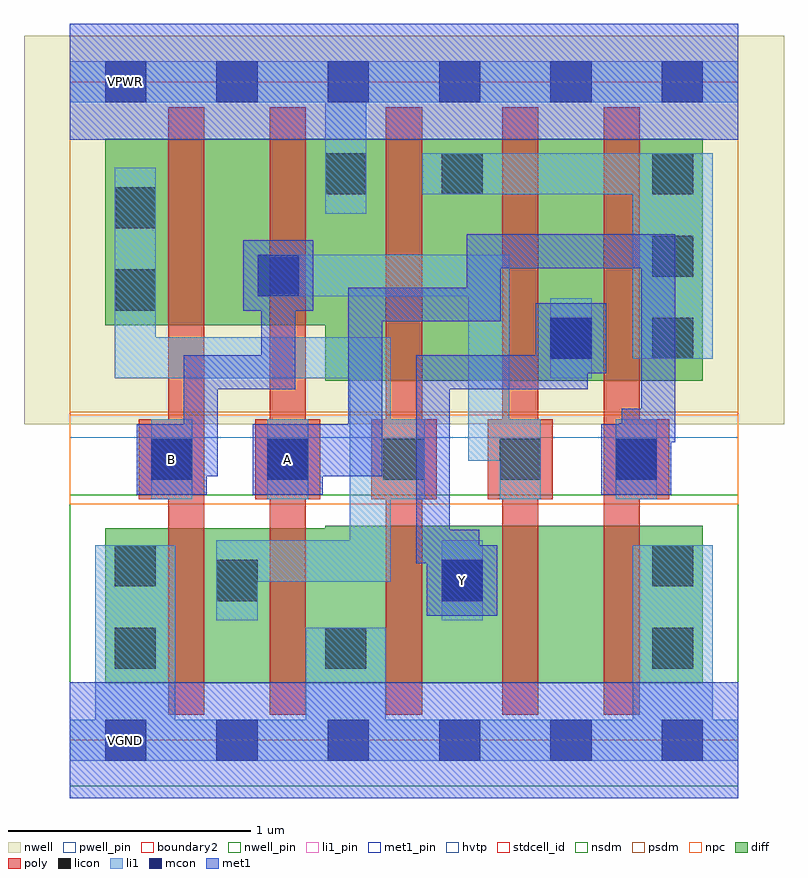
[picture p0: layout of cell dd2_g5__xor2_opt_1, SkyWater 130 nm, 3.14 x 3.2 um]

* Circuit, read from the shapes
.subckt dd2_g5__xor2_opt_1 A B VGND VNB VPB VPWR Y
XM1 n1 B VGND VNB sky130_fd_pr__nfet_01v8 w=0.64 l=0.15
XM2 VGND A n1 VNB sky130_fd_pr__nfet_01v8 w=0.64 l=0.15
XM3 Y n1 VGND VNB sky130_fd_pr__nfet_01v8 w=0.65 l=0.15
XM4 n2 B Y VNB sky130_fd_pr__nfet_01v8 w=0.65 l=0.15
XM5 VGND A n2 VNB sky130_fd_pr__nfet_01v8 w=0.65 l=0.15
XM6 n3 B n1 VPB sky130_fd_pr__pfet_01v8_hvt w=0.77 l=0.15
XM7 VPWR A n3 VPB sky130_fd_pr__pfet_01v8_hvt w=0.77 l=0.15
XM8 n4 n1 VPWR VPB sky130_fd_pr__pfet_01v8_hvt w=1 l=0.15
XM9 Y B n4 VPB sky130_fd_pr__pfet_01v8_hvt w=1 l=0.15
XM10 n4 A Y VPB sky130_fd_pr__pfet_01v8_hvt w=1 l=0.15
.ends

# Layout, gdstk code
import gdstk
lib = gdstk.Library(unit=1e-6, precision=1e-09)
def R(c, l, rs):  # rectangles x0, y0, x1, y1
    for r in rs: c.add(gdstk.rectangle(r[:2], r[2:], *l))
def A(c, l, x, y, w, h, nx, ny, dx, dy):  # array of equal rectangles
    R(c, l, [(x+i*dx, y+j*dy, x+i*dx+w, y+j*dy+h) for i in range(nx) for j in range(ny)])
nwell_pin = (64, 16)
nwell = (64, 20)
diff = (65, 20)
poly = (66, 20)
licon = (66, 44)
li1_pin = (67, 16)
li1 = (67, 20)
mcon = (67, 44)
met1_pin = (68, 16)
met1 = (68, 20)
hvtp = (78, 44)
stdcell_id = (81, 4)
nsdm = (93, 44)
psdm = (94, 20)
npc = (95, 20)
pwell_pin = (122, 16)
boundary2 = (236, 0)

dd2_g5__xor2_opt_1 = lib.new_cell('dd2_g5__xor2_opt_1')
R(dd2_g5__xor2_opt_1, nwell_pin, [(0.145,2.635,0.315,2.805)])
R(dd2_g5__xor2_opt_1, nwell, [(-0.19,1.305,2.95,2.91)])
R(dd2_g5__xor2_opt_1, diff, [(0.145,0.235,0.9,0.875), (0.48,0.235,1.38,0.875), (1.055,0.235,1.86,0.885), (1.38,0.235,2.28,0.885), (1.86,0.235,2.615,0.885), (1.055,1.485,1.86,2.485), (1.38,1.485,2.28,2.485), (1.86,1.485,2.615,2.485), (0.145,1.715,0.9,2.485), (0.48,1.715,1.38,2.485)])
A(dd2_g5__xor2_opt_1, poly, 0.825, 0.105, 0.15, 2.51, 3, 1, 0.48, 0)
A(dd2_g5__xor2_opt_1, poly, 0.285, 0.995, 0.27, 0.33, 5, 1, 0.48, 0)
R(dd2_g5__xor2_opt_1, poly, [(0.405,0.105,0.555,2.615), (2.205,0.105,2.355,2.615)])
A(dd2_g5__xor2_opt_1, licon, 0.335, 1.075, 0.17, 0.17, 5, 1, 0.48, 0)
A(dd2_g5__xor2_opt_1, licon, 2.405, 1.575, 0.17, 0.17, 1, 3, 0, 0.34)
R(dd2_g5__xor2_opt_1, licon, [(0.185,0.295,0.355,0.465), (1.055,0.295,1.225,0.465), (2.405,0.295,2.575,0.465), (0.605,0.575,0.775,0.745), (1.535,0.575,1.705,0.745), (0.185,0.635,0.355,0.805), (2.405,0.635,2.575,0.805), (1.985,1.575,2.155,1.745), (0.185,1.775,0.355,1.945), (0.185,2.115,0.355,2.285), (1.055,2.255,1.225,2.425), (1.535,2.255,1.705,2.425)])
R(dd2_g5__xor2_opt_1, li1_pin, [(0.145,-0.085,0.315,0.085), (1.545,0.585,1.695,0.735), (0.345,1.085,0.495,1.235), (0.825,1.085,0.975,1.235), (1.785,1.085,1.935,1.235), (2.265,1.085,2.415,1.235), (0.145,2.635,0.315,2.805)])
R(dd2_g5__xor2_opt_1, li1, [(0,-0.085,2.76,0.085), (0.105,0.085,0.435,0.805), (0.975,0.085,1.305,0.465), (2.325,0.085,2.655,0.805), (0.605,0.495,0.775,0.655), (1.535,0.495,1.705,0.825), (0.605,0.655,1.325,0.825), (1.155,0.825,1.325,0.995), (0.335,0.995,0.505,1.325), (0.815,0.995,0.985,1.325), (1.155,0.995,1.465,1.325), (1.775,0.995,1.945,1.155), (2.255,0.995,2.425,1.325), (1.645,1.155,1.945,1.325), (1.155,1.325,1.325,1.495), (1.645,1.325,1.815,1.835), (0.185,1.495,1.325,1.665), (1.985,1.495,2.155,1.825), (2.325,1.575,2.655,2.255), (0.185,1.665,0.355,2.365), (0.775,1.835,1.815,2.005), (1.055,2.175,1.225,2.635), (1.455,2.255,2.655,2.425), (0,2.635,2.76,2.805)])
A(dd2_g5__xor2_opt_1, mcon, 0.145, -0.085, 0.17, 0.17, 6, 2, 0.46, 2.72)
R(dd2_g5__xor2_opt_1, mcon, [(1.535,0.575,1.705,0.745), (0.335,1.075,0.505,1.245), (0.815,1.075,0.985,1.245), (2.255,1.075,2.425,1.245), (1.985,1.575,2.155,1.745), (0.775,1.835,0.945,2.005)])
R(dd2_g5__xor2_opt_1, met1_pin, [(0.145,-0.085,0.315,0.085), (0.145,2.635,0.315,2.805)])
R(dd2_g5__xor2_opt_1, met1, [(0,-0.24,2.76,0.24), (1.475,0.515,1.765,0.73), (1.43,0.73,1.765,0.805), (1.43,0.805,1.69,0.87), (1.43,0.87,1.57,1.45), (0.275,1.015,0.565,1.09), (0.755,1.015,1.045,1.09), (2.195,1.015,2.485,1.23), (0.275,1.09,0.61,1.305), (0.755,1.09,1.29,1.305), (2.195,1.23,2.5,1.305), (0.47,1.305,0.61,1.45), (1.15,1.305,1.29,1.73), (2.27,1.305,2.5,1.31), (2.28,1.31,2.5,1.37), (2.36,1.37,2.5,1.95), (0.47,1.45,0.93,1.59), (1.43,1.45,2.14,1.515), (1.43,1.515,2.215,1.59), (0.79,1.59,0.93,1.775), (1.925,1.59,2.215,1.805), (1.15,1.73,1.78,1.87), (0.715,1.775,1.005,2.065), (1.64,1.87,1.78,1.95), (1.64,1.95,2.5,2.09), (0,2.48,2.76,2.96)])
R(dd2_g5__xor2_opt_1, hvtp, [(0,1.25,2.76,2.72)])
R(dd2_g5__xor2_opt_1, stdcell_id, [(0,0,2.76,2.72)])
R(dd2_g5__xor2_opt_1, nsdm, [(0,-0.19,2.76,1.015)])
R(dd2_g5__xor2_opt_1, psdm, [(0,1.355,2.76,2.91)])
R(dd2_g5__xor2_opt_1, npc, [(0,0.975,2.76,1.345)])
R(dd2_g5__xor2_opt_1, pwell_pin, [(0.145,-0.085,0.315,0.085)])
R(dd2_g5__xor2_opt_1, boundary2, [(0,0,2.76,2.72)])
dd2_g5__xor2_opt_1.add(gdstk.Label('VPWR', (0.23,2.72), layer=68, texttype=5))
dd2_g5__xor2_opt_1.add(gdstk.Label('VGND', (0.23,0), layer=68, texttype=5))
dd2_g5__xor2_opt_1.add(gdstk.Label('VPWR', (0.23,2.72), layer=67, texttype=5))
dd2_g5__xor2_opt_1.add(gdstk.Label('VGND', (0.23,0), layer=67, texttype=5))
dd2_g5__xor2_opt_1.add(gdstk.Label('A', (0.9,1.16), layer=67, texttype=5))
dd2_g5__xor2_opt_1.add(gdstk.Label('B', (0.42,1.16), layer=67, texttype=5))
dd2_g5__xor2_opt_1.add(gdstk.Label('Y', (1.62,0.66), layer=67, texttype=5))
dd2_g5__xor2_opt_1.add(gdstk.Label('VPB', (0.23,2.72), layer=64, texttype=5))
dd2_g5__xor2_opt_1.add(gdstk.Label('VNB', (0.23,0), layer=64, texttype=59))

lib.write_gds('dd2_g5__xor2_opt_1.gds')
